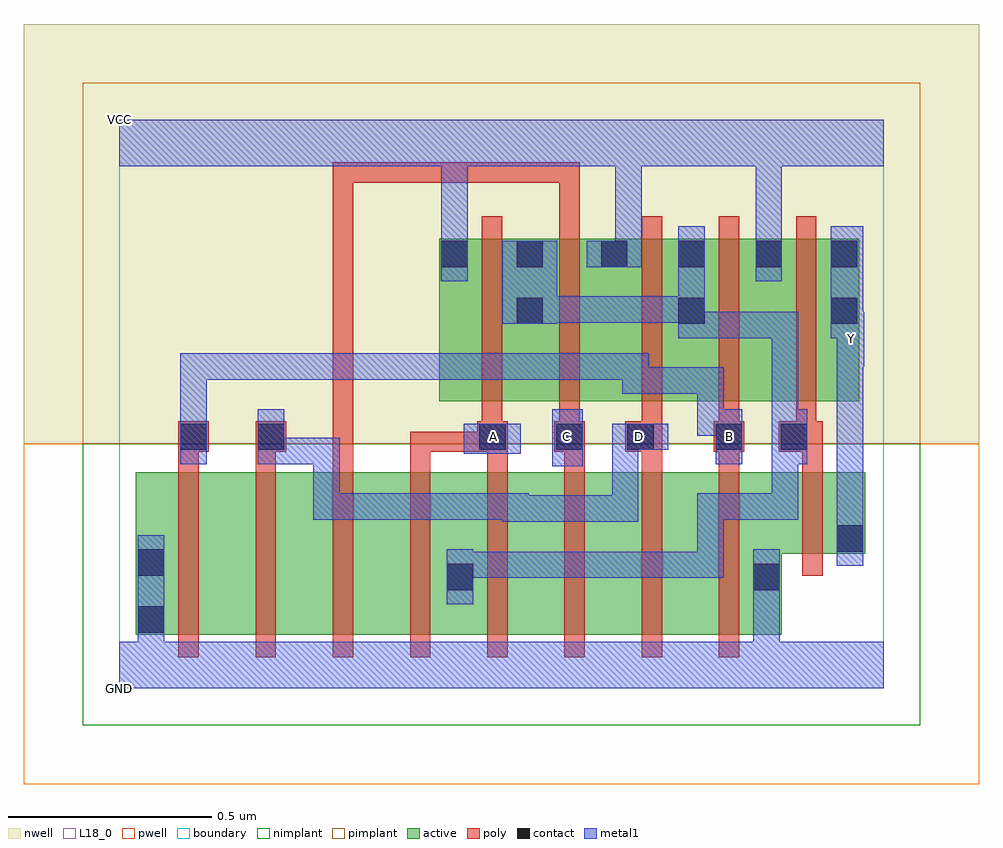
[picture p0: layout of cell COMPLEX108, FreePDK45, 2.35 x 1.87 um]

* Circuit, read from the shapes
.subckt COMPLEX108 A B C D GND VCC Y
M1 n1 B GND VSUBS nfet w=0.4u l=0.05u
M2 n2 D n1 VSUBS nfet w=0.4u l=0.05u
M3 n3 C n2 VSUBS nfet w=0.4u l=0.05u
M4 n4 A n3 VSUBS nfet w=0.4u l=0.05u
M5 n5 A n4 VSUBS nfet w=0.4u l=0.05u
M6 n6 C n5 VSUBS nfet w=0.4u l=0.05u
M7 n7 D n6 VSUBS nfet w=0.4u l=0.05u
M8 GND B n7 VSUBS nfet w=0.4u l=0.05u
M9 Y n4 GND VSUBS nfet w=0.2u l=0.05u
M10 n4 A VCC n8 pfet w=0.4u l=0.05u
M11 VCC C n4 n8 pfet w=0.4u l=0.05u
M12 n4 D VCC n8 pfet w=0.4u l=0.05u
M13 VCC B n4 n8 pfet w=0.4u l=0.05u
M14 Y n4 VCC n8 pfet w=0.4u l=0.05u
.ends

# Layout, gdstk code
import gdstk
lib = gdstk.Library(unit=1e-6, precision=1e-09)
def R(c, l, rs):  # rectangles x0, y0, x1, y1
    for r in rs: c.add(gdstk.rectangle(r[:2], r[2:], *l))
def A(c, l, x, y, w, h, nx, ny, dx, dy):  # array of equal rectangles
    R(c, l, [(x+i*dx, y+j*dy, x+i*dx+w, y+j*dy+h) for i in range(nx) for j in range(ny)])
active = (1, 0)
pwell = (2, 0)
nwell = (3, 0)
nimplant = (4, 0)
pimplant = (5, 0)
poly = (9, 0)
contact = (10, 0)
metal1 = (11, 0)
L18_0 = (18, 0)
boundary = (235, 0)

complex108 = lib.new_cell('COMPLEX108')
R(complex108, active, [(0.04,0.132,0.115,0.532), (0.04,0.132,0.265,0.532), (0.265,0.132,0.455,0.532), (0.455,0.132,0.645,0.532), (0.645,0.132,0.875,0.532), (0.8,0.132,1.025,0.532), (1.025,0.132,1.215,0.532), (1.215,0.132,1.405,0.532), (1.405,0.132,1.63,0.532), (1.555,0.132,1.63,0.532), (0.8,0.147,0.875,0.492), (1.555,0.332,1.835,0.532), (1.76,0.332,1.835,0.532), (0.787,0.707,1.047,1.107), (0.972,0.707,1.255,1.107), (1.18,0.707,1.445,1.107), (1.37,0.707,1.635,1.107), (1.56,0.707,1.82,1.107), (1.745,0.707,1.82,1.107), (0.787,0.782,0.862,1.107), (0.972,0.802,1.047,1.107), (1.37,0.802,1.445,1.107), (1.56,0.872,1.635,1.107), (1.18,0.907,1.255,1.107)])
R(complex108, pwell, [(-0.235,-0.235,2.115,0.602)])
R(complex108, nwell, [(-0.235,0.602,2.115,1.635)])
R(complex108, nimplant, [(-0.09,-0.09,1.97,0.602)])
R(complex108, pimplant, [(-0.09,0.602,1.97,1.49)])
A(complex108, poly, 0.145, 0.077, 0.05, 0.51, 8, 1, 0.19, 0)
A(complex108, poly, 0.715, 0.537, 0.05, 0.095, 5, 1, 0.19, 0)
A(complex108, poly, 1.285, 0.607, 0.05, 0.095, 3, 1, 0.19, 0)
A(complex108, poly, 1.285, 0.652, 0.05, 0.51, 3, 1, 0.19, 0)
R(complex108, poly, [(1.68,0.277,1.73,0.587), (0.145,0.537,0.195,0.632), (0.335,0.537,0.385,0.632), (0.525,0.537,0.575,1.295), (1.68,0.537,1.73,0.632), (0.145,0.582,0.22,0.657), (0.335,0.582,0.41,0.657), (0.715,0.582,0.765,0.632), (0.715,0.582,0.765,0.632), (0.715,0.582,0.765,0.632), (0.715,0.582,0.93,0.632), (0.88,0.582,0.955,0.657), (1.07,0.582,1.145,0.657), (1.245,0.582,1.335,0.657), (1.462,0.582,1.537,0.657), (1.622,0.582,1.73,0.657), (0.892,0.607,0.942,0.702), (1.082,0.607,1.132,0.702), (0.892,0.652,0.942,1.162), (1.082,0.652,1.132,1.162), (1.082,1.112,1.132,1.295), (0.525,1.245,0.575,1.295), (0.525,1.245,0.575,1.295), (0.525,1.245,0.575,1.295), (0.525,1.245,0.575,1.295), (0.525,1.245,0.575,1.295), (0.525,1.245,0.575,1.295), (0.525,1.245,0.575,1.295), (0.525,1.245,0.737,1.295), (0.687,1.245,0.737,1.295), (0.687,1.245,0.737,1.295), (0.687,1.245,0.737,1.295), (0.687,1.245,0.737,1.295), (0.687,1.245,0.737,1.295), (0.687,1.245,0.737,1.295), (0.687,1.245,0.737,1.295), (0.687,1.245,0.737,1.295), (0.687,1.245,0.737,1.295), (0.687,1.245,0.897,1.295), (0.847,1.245,0.897,1.295), (0.847,1.245,1.132,1.295), (1.082,1.245,1.132,1.295), (1.082,1.245,1.132,1.295), (1.082,1.245,1.132,1.295)])
A(complex108, contact, 1.185, 1.037, 0.065, 0.065, 3, 1, 0.19, 0)
R(complex108, contact, [(0.045,0.137,0.11,0.202), (0.805,0.242,0.87,0.307), (1.56,0.242,1.625,0.307), (0.045,0.277,0.11,0.342), (1.765,0.337,1.83,0.402), (0.15,0.587,0.215,0.652), (0.34,0.587,0.405,0.652), (0.885,0.587,0.95,0.652), (1.075,0.587,1.14,0.652), (1.25,0.587,1.315,0.652), (1.467,0.587,1.532,0.652), (1.627,0.587,1.692,0.652), (0.977,0.897,1.042,0.962), (1.375,0.897,1.44,0.962), (1.75,0.897,1.815,0.962), (0.792,1.037,0.857,1.102), (0.977,1.037,1.042,1.102), (1.75,1.037,1.815,1.102)])
R(complex108, metal1, [(0,0,1.88,0.115), (0.045,0.05,0.11,0.167), (1.56,0.05,1.625,0.272), (0.045,0.102,0.11,0.377), (0.805,0.207,0.87,0.342), (1.56,0.207,1.625,0.342), (0.805,0.272,0.87,0.337), (0.805,0.272,0.87,0.337), (0.805,0.272,1.077,0.337), (1.012,0.272,1.077,0.337), (1.012,0.272,1.077,0.337), (1.012,0.272,1.077,0.337), (1.012,0.272,1.302,0.337), (1.237,0.272,1.302,0.337), (1.237,0.272,1.302,0.337), (1.237,0.272,1.302,0.337), (1.237,0.272,1.487,0.337), (1.422,0.272,1.487,0.337), (1.422,0.272,1.487,0.48), (1.765,0.302,1.83,0.437), (1.765,0.372,1.83,0.857), (0.942,0.41,1.007,0.475), (0.942,0.41,1.007,0.475), (0.942,0.41,1.277,0.475), (0.942,0.41,1.007,0.48), (1.212,0.41,1.277,0.475), (1.212,0.41,1.277,0.652), (0.477,0.415,0.542,0.48), (0.477,0.415,0.542,0.48), (0.477,0.415,0.542,0.48), (0.477,0.415,0.542,0.617), (0.477,0.415,0.68,0.48), (0.615,0.415,0.68,0.48), (0.615,0.415,0.68,0.48), (0.615,0.415,0.68,0.48), (0.615,0.415,0.817,0.48), (0.752,0.415,0.817,0.48), (0.752,0.415,0.817,0.48), (0.752,0.415,0.817,0.48), (0.752,0.415,1.007,0.48), (1.422,0.415,1.487,0.48), (1.422,0.415,1.487,0.48), (1.422,0.415,1.487,0.48), (1.422,0.415,1.67,0.48), (1.605,0.415,1.67,0.48), (1.605,0.415,1.67,0.617), (1.065,0.547,1.14,0.687), (0.15,0.552,0.215,0.687), (0.34,0.552,0.405,0.687), (0.34,0.552,0.542,0.617), (0.477,0.552,0.542,0.617), (1.467,0.552,1.532,0.687), (1.605,0.552,1.67,0.617), (1.605,0.552,1.692,0.617), (1.605,0.552,1.67,0.927), (1.627,0.552,1.692,0.687), (0.847,0.577,0.987,0.652), (1.212,0.587,1.277,0.652), (1.212,0.587,1.277,0.652), (1.212,0.587,1.35,0.652), (0.15,0.622,0.215,0.687), (0.15,0.622,0.215,0.687), (0.15,0.622,0.215,0.825), (1.422,0.622,1.487,0.687), (1.422,0.622,1.532,0.687), (1.422,0.622,1.487,0.79), (1.237,0.725,1.487,0.79), (1.237,0.725,1.302,0.825), (1.422,0.725,1.487,0.79), (0.15,0.76,0.215,0.825), (0.15,0.76,0.352,0.825), (0.287,0.76,0.352,0.825), (0.287,0.76,0.352,0.825), (0.287,0.76,0.352,0.825), (0.287,0.76,0.542,0.825), (0.477,0.76,0.542,0.825), (0.477,0.76,0.68,0.825), (0.615,0.76,0.68,0.825), (0.615,0.76,0.68,0.825), (0.615,0.76,0.68,0.825), (0.615,0.76,0.87,0.825), (0.805,0.76,0.87,0.825), (0.805,0.76,0.87,0.825), (0.805,0.76,0.87,0.825), (0.805,0.76,1.007,0.825), (0.942,0.76,1.007,0.825), (0.942,0.76,1.007,0.825), (0.942,0.76,1.007,0.825), (0.942,0.76,1.302,0.825), (1.237,0.76,1.302,0.825), (1.237,0.76,1.302,0.825), (1.765,0.792,1.832,0.927), (1.375,0.862,1.555,0.927), (1.375,0.862,1.44,1.137), (1.49,0.862,1.555,0.927), (1.49,0.862,1.67,0.927), (1.605,0.862,1.67,0.927), (1.605,0.862,1.67,0.927), (1.605,0.862,1.67,0.927), (1.75,0.862,1.83,1.137), (1.765,0.862,1.83,0.927), (0.942,0.897,1.077,1.102), (1.012,0.9,1.077,0.965), (1.012,0.9,1.077,0.965), (1.012,0.9,1.277,0.965), (1.212,0.9,1.277,0.965), (1.212,0.9,1.277,0.965), (1.212,0.9,1.277,0.965), (1.212,0.9,1.44,0.965), (0.792,1.002,0.857,1.137), (1.565,1.002,1.63,1.137), (1.15,1.037,1.285,1.102), (1.22,1.037,1.285,1.35), (0.792,1.072,0.857,1.35), (1.565,1.072,1.63,1.35), (0,1.285,1.88,1.4), (0.792,1.285,0.857,1.35), (0.792,1.285,0.857,1.35), (1.22,1.285,1.285,1.35), (1.22,1.285,1.285,1.35), (1.565,1.285,1.63,1.35), (1.565,1.285,1.63,1.35)])
R(complex108, L18_0, [(0,0,1.88,0.115), (0.045,0.05,0.11,0.167), (1.56,0.05,1.625,0.272), (0.045,0.102,0.11,0.377), (1.56,0.207,1.625,0.342), (1.765,0.302,1.83,0.437), (1.765,0.372,1.83,0.857), (0.942,0.41,1.007,0.475), (0.942,0.41,1.007,0.475), (0.942,0.41,1.007,0.48), (0.942,0.41,1.277,0.475), (1.212,0.41,1.277,0.475), (1.212,0.41,1.277,0.652), (0.477,0.415,0.542,0.48), (0.477,0.415,0.542,0.48), (0.477,0.415,0.542,0.48), (0.477,0.415,0.542,0.617), (0.477,0.415,0.68,0.48), (0.615,0.415,0.68,0.48), (0.615,0.415,0.68,0.48), (0.615,0.415,0.68,0.48), (0.615,0.415,0.817,0.48), (0.752,0.415,0.817,0.48), (0.752,0.415,0.817,0.48), (0.752,0.415,0.817,0.48), (0.752,0.415,1.007,0.48), (1.065,0.547,1.14,0.687), (0.15,0.552,0.215,0.687), (0.34,0.552,0.405,0.687), (0.34,0.552,0.542,0.617), (0.477,0.552,0.542,0.617), (1.467,0.552,1.532,0.687), (0.847,0.577,0.987,0.652), (0.887,0.587,0.952,0.652), (1.067,0.587,1.132,0.652), (1.212,0.587,1.277,0.652), (1.212,0.587,1.277,0.652), (1.212,0.587,1.35,0.652), (1.247,0.587,1.312,0.652), (1.467,0.587,1.532,0.652), (0.15,0.622,0.215,0.687), (0.15,0.622,0.215,0.687), (0.15,0.622,0.215,0.825), (1.422,0.622,1.487,0.687), (1.422,0.622,1.487,0.79), (1.422,0.622,1.532,0.687), (1.237,0.725,1.302,0.825), (1.237,0.725,1.487,0.79), (1.422,0.725,1.487,0.79), (0.15,0.76,0.215,0.825), (0.15,0.76,0.352,0.825), (0.287,0.76,0.352,0.825), (0.287,0.76,0.352,0.825), (0.287,0.76,0.352,0.825), (0.287,0.76,0.542,0.825), (0.477,0.76,0.542,0.825), (0.477,0.76,0.68,0.825), (0.615,0.76,0.68,0.825), (0.615,0.76,0.68,0.825), (0.615,0.76,0.68,0.825), (0.615,0.76,0.87,0.825), (0.805,0.76,0.87,0.825), (0.805,0.76,0.87,0.825), (0.805,0.76,0.87,0.825), (0.805,0.76,1.007,0.825), (0.942,0.76,1.007,0.825), (0.942,0.76,1.007,0.825), (0.942,0.76,1.007,0.825), (0.942,0.76,1.302,0.825), (1.237,0.76,1.302,0.825), (1.237,0.76,1.302,0.825), (1.765,0.792,1.832,0.927), (1.767,0.827,1.832,0.892), (1.75,0.862,1.83,1.137), (1.765,0.862,1.83,0.927), (0.792,1.002,0.857,1.137), (1.565,1.002,1.63,1.137), (1.15,1.037,1.285,1.102), (1.22,1.037,1.285,1.35), (0.792,1.072,0.857,1.35), (1.565,1.072,1.63,1.35), (0,1.285,1.88,1.4), (0.792,1.285,0.857,1.35), (0.792,1.285,0.857,1.35), (1.22,1.285,1.285,1.35), (1.22,1.285,1.285,1.35), (1.565,1.285,1.63,1.35), (1.565,1.285,1.63,1.35)])
R(complex108, boundary, [(0,0,1.88,1.4)])
complex108.add(gdstk.Label('A', (0.92,0.62), layer=11, texttype=0))
complex108.add(gdstk.Label('B', (1.5,0.62), layer=11, texttype=0))
complex108.add(gdstk.Label('C', (1.1,0.62), layer=11, texttype=0))
complex108.add(gdstk.Label('D', (1.28,0.62), layer=11, texttype=0))
complex108.add(gdstk.Label('Y', (1.8,0.86), layer=11, texttype=0))
complex108.add(gdstk.Label('VCC', (0,1.4), layer=11, texttype=0))
complex108.add(gdstk.Label('GND', (0,0), layer=11, texttype=0))

lib.write_gds('COMPLEX108.gds')
